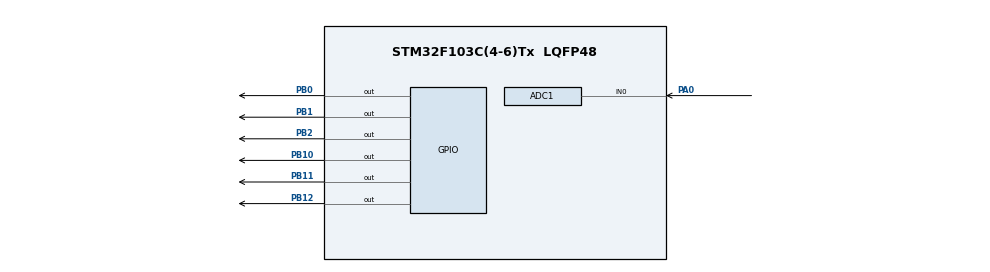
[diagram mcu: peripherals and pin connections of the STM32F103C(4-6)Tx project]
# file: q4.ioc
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ADC1.Channel-0\#ChannelRegularConversion=ADC_CHANNEL_0
ADC1.NbrOfConversionFlag=1
ADC1.Rank-0\#ChannelRegularConversion=1
ADC1.SamplingTime-0\#ChannelRegularConversion=ADC_SAMPLETIME_1CYCLE_5
ADC1.master=1
Mcu.Family=STM32F1
Mcu.Name=STM32F103C(4-6)Tx
Mcu.Package=LQFP48
NVIC.PriorityGroup=NVIC_PRIORITYGROUP_4
PA0-WKUP.Signal=ADCx_IN0
PB0.Signal=GPIO_Output
PB1.Signal=GPIO_Output
PB10.Signal=GPIO_Output
PB11.Signal=GPIO_Output
PB12.Signal=GPIO_Output
PB2.Signal=GPIO_Output
ProjectManager.HeapSize=0x200
ProjectManager.StackSize=0x400
ProjectManager.TargetToolchain=STM32CubeIDE
RCC.APB1Freq_Value=8000000
RCC.APB2Freq_Value=8000000
SH.ADCx_IN0.0=ADC1_IN0,IN0
VP_SYS_VS_ND.Mode=No_Debug
board=custom

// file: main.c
/* USER CODE BEGIN Header */
/**
  ******************************************************************************
  * @file           : main.c
  * @brief          : Main program body
  ******************************************************************************
  * @attention
  *
  * Copyright (c) 2026 STMicroelectronics.
  * All rights reserved.
  *
  * This software is licensed under terms that can be found in the LICENSE file
  * in the root directory of this software component.
  * If no LICENSE file comes with this software, it is provided AS-IS.
  *
  ******************************************************************************
  */
/* USER CODE END Header */
#include "main.h"

/* USER CODE BEGIN Includes */
#include "lcd.h"
#include <stdio.h>
/* USER CODE END Includes */

ADC_HandleTypeDef hadc1;

void SystemClock_Config(void);
static void MX_GPIO_Init(void);
static void MX_ADC1_Init(void);

/* USER CODE BEGIN 0 */
Lcd_PortType port[] = {GPIOB, GPIOB, GPIOB, GPIOB};
Lcd_PinType pin[] = {GPIO_PIN_0, GPIO_PIN_1, GPIO_PIN_2, GPIO_PIN_10};
Lcd_PortType rs_port = GPIOB;
Lcd_PinType rs_pin = GPIO_PIN_11;
Lcd_PortType e_port = GPIOB;
Lcd_PinType e_pin = GPIO_PIN_12;
Lcd_HandleTypeDef lcd;
/* USER CODE END 0 */

int main(void)
{

  /* MCU Configuration--------------------------------------------------------*/

  /* Reset of all peripherals, Initializes the Flash interface and the Systick. */
  HAL_Init();

  /* Configure the system clock */
  SystemClock_Config();

  /* Initialize all configured peripherals */
  MX_GPIO_Init();
  MX_ADC1_Init();
  /* USER CODE BEGIN 2 */
  lcd = Lcd_create(port, pin, rs_port, rs_pin, e_port, e_pin, LCD_4_BIT_MODE);
    Lcd_init(&lcd);
  /* USER CODE END 2 */

  /* Infinite loop */
  /* USER CODE BEGIN WHILE */
  while (1)
  {
	  HAL_ADC_Start(&hadc1);
	      HAL_ADC_PollForConversion(&hadc1, 10);
	      uint32_t raw_adc = HAL_ADC_GetValue(&hadc1);

	      float voltage = (raw_adc * 3.3f) / 4095.0f;
	      char line1[16];
	      char line2[16];
	      float physical_value = 0.0f;
	      if (voltage >= 0.0f && voltage < 1.0f) {
	          physical_value = 100.0f * voltage;
	          sprintf(line1, "Sensor: LM35   ");
	          sprintf(line2, "Temp: %.2f C   ", physical_value);
	      }
	      else if (voltage >= 1.0f && voltage < 2.0f) {
	          physical_value = 33.3f * voltage;
	          sprintf(line1, "Sensor: HIH4000");
	          sprintf(line2, "Hum: %.2f %%   ", physical_value);
	      }
	      else if (voltage >= 2.0f && voltage < 3.0f) {
	          physical_value = 100.0f * voltage;
	          sprintf(line1, "Sensor: MPX4115");
	          sprintf(line2, "Pres: %.2f hPa ", physical_value);
	      }
	      else if (voltage >= 3.0f && voltage <= 3.3f) {
	          physical_value = 100.0f * (voltage / 3.3f);
	          sprintf(line1, "Sensor: MQ-135 ");
	          sprintf(line2, "AirQ: %.2f %%   ", physical_value);
	      }

	      Lcd_cursor(&lcd, 0, 0);
	      Lcd_string(&lcd, line1);
	      Lcd_cursor(&lcd, 1, 0);
	      Lcd_string(&lcd, line2);

	      HAL_Delay(200);
    /* USER CODE END WHILE */
  }
}

void SystemClock_Config(void)
{
  RCC_OscInitTypeDef RCC_OscInitStruct = {0};
  RCC_ClkInitTypeDef RCC_ClkInitStruct = {0};
  RCC_PeriphCLKInitTypeDef PeriphClkInit = {0};

  /** Initializes the RCC Oscillators according to the specified parameters
  * in the RCC_OscInitTypeDef structure.
  */
  RCC_OscInitStruct.OscillatorType = RCC_OSCILLATORTYPE_HSI;
  RCC_OscInitStruct.HSIState = RCC_HSI_ON;
  RCC_OscInitStruct.HSICalibrationValue = RCC_HSICALIBRATION_DEFAULT;
  RCC_OscInitStruct.PLL.PLLState = RCC_PLL_NONE;
  if (HAL_RCC_OscConfig(&RCC_OscInitStruct) != HAL_OK)
  {
    Error_Handler();
  }

  /** Initializes the CPU, AHB and APB buses clocks
  */
  RCC_ClkInitStruct.ClockType = RCC_CLOCKTYPE_HCLK|RCC_CLOCKTYPE_SYSCLK
                              |RCC_CLOCKTYPE_PCLK1|RCC_CLOCKTYPE_PCLK2;
  RCC_ClkInitStruct.SYSCLKSource = RCC_SYSCLKSOURCE_HSI;
  RCC_ClkInitStruct.AHBCLKDivider = RCC_SYSCLK_DIV1;
  RCC_ClkInitStruct.APB1CLKDivider = RCC_HCLK_DIV1;
  RCC_ClkInitStruct.APB2CLKDivider = RCC_HCLK_DIV1;

  if (HAL_RCC_ClockConfig(&RCC_ClkInitStruct, FLASH_LATENCY_0) != HAL_OK)
  {
    Error_Handler();
  }
  PeriphClkInit.PeriphClockSelection = RCC_PERIPHCLK_ADC;
  PeriphClkInit.AdcClockSelection = RCC_ADCPCLK2_DIV2;
  if (HAL_RCCEx_PeriphCLKConfig(&PeriphClkInit) != HAL_OK)
  {
    Error_Handler();
  }
}

static void MX_ADC1_Init(void)
{

  ADC_ChannelConfTypeDef sConfig = {0};

  /** Common config
  */
  hadc1.Instance = ADC1;
  hadc1.Init.ScanConvMode = ADC_SCAN_DISABLE;
  hadc1.Init.ContinuousConvMode = DISABLE;
  hadc1.Init.DiscontinuousConvMode = DISABLE;
  hadc1.Init.ExternalTrigConv = ADC_SOFTWARE_START;
  hadc1.Init.DataAlign = ADC_DATAALIGN_RIGHT;
  hadc1.Init.NbrOfConversion = 1;
  if (HAL_ADC_Init(&hadc1) != HAL_OK)
  {
    Error_Handler();
  }

  /** Configure Regular Channel
  */
  sConfig.Channel = ADC_CHANNEL_0;
  sConfig.Rank = ADC_REGULAR_RANK_1;
  sConfig.SamplingTime = ADC_SAMPLETIME_1CYCLE_5;
  if (HAL_ADC_ConfigChannel(&hadc1, &sConfig) != HAL_OK)
  {
    Error_Handler();
  }

}

static void MX_GPIO_Init(void)
{
  GPIO_InitTypeDef GPIO_InitStruct = {0};

  /* GPIO Ports Clock Enable */
  __HAL_RCC_GPIOA_CLK_ENABLE();
  __HAL_RCC_GPIOB_CLK_ENABLE();

  /*Configure GPIO pin Output Level */
  HAL_GPIO_WritePin(GPIOB, GPIO_PIN_0|GPIO_PIN_1|GPIO_PIN_2|GPIO_PIN_10
                          |GPIO_PIN_11|GPIO_PIN_12, GPIO_PIN_RESET);

  /*Configure GPIO pins : PB0 PB1 PB2 PB10
                           PB11 PB12 */
  GPIO_InitStruct.Pin = GPIO_PIN_0|GPIO_PIN_1|GPIO_PIN_2|GPIO_PIN_10
                          |GPIO_PIN_11|GPIO_PIN_12;
  GPIO_InitStruct.Mode = GPIO_MODE_OUTPUT_PP;
  GPIO_InitStruct.Pull = GPIO_NOPULL;
  GPIO_InitStruct.Speed = GPIO_SPEED_FREQ_LOW;
  HAL_GPIO_Init(GPIOB, &GPIO_InitStruct);

}

void Error_Handler(void)
{
  __disable_irq();
  while (1)
  {
  }
}
